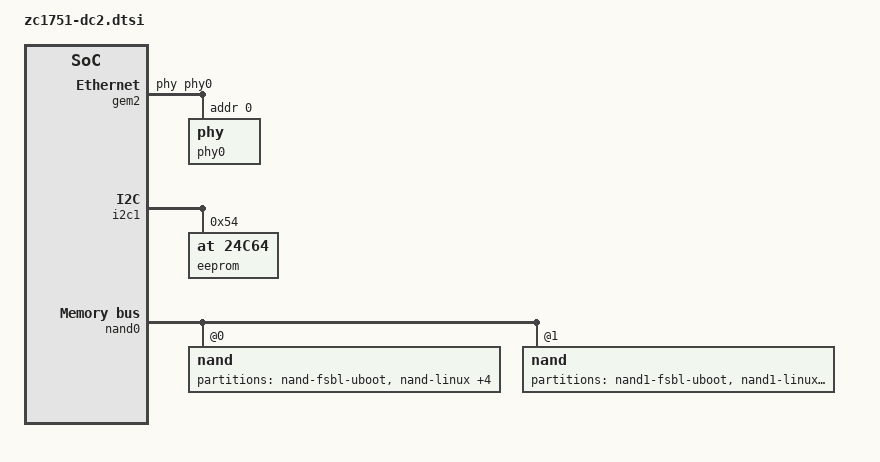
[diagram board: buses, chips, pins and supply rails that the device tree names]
&gem2 {
	phy-handle = <&phy0>;
	phy0: phy@0 {
		reg = <0>;
	};
};

&i2c1 {
	eeprom@54 {
		compatible = "at,24c64"; /* 24AA64 */
		reg = <0x54>;
	};
};

&nand0 {
	arasan,has-mdma;

	nand@0 {
		reg = <0x0>;
		#address-cells = <0x2>;
		#size-cells = <0x1>;

		partition@0 {	/* for testing purpose */
			label = "nand-fsbl-uboot";
			reg = <0x0 0x0 0x400000>;
		};
		partition@1 {	/* for testing purpose */
			label = "nand-linux";
			reg = <0x0 0x400000 0x1400000>;
		};
		partition@2 {	/* for testing purpose */
			label = "nand-device-tree";
			reg = <0x0 0x1800000 0x400000>;
		};
		partition@3 {	/* for testing purpose */
			label = "nand-rootfs";
			reg = <0x0 0x1C00000 0x1400000>;
		};
		partition@4 {	/* for testing purpose */
			label = "nand-bitstream";
			reg = <0x0 0x3000000 0x400000>;
		};
		partition@5 {	/* for testing purpose */
			label = "nand-misc";
			reg = <0x0 0x3400000 0xFCC00000>;
		};
	};
	nand@1 {
		reg = <0x1>;
		#address-cells = <0x2>;
		#size-cells = <0x1>;

		partition@6 {	/* for testing purpose */
			label = "nand1-fsbl-uboot";
			reg = <0x1 0x0 0x400000>;
		};
		partition@7 {	/* for testing purpose */
			label = "nand1-linux";
			reg = <0x1 0x400000 0x1400000>;
		};
		partition@8 {	/* for testing purpose */
			label = "nand1-device-tree";
			reg = <0x1 0x1800000 0x400000>;
		};
		partition@9 {	/* for testing purpose */
			label = "nand1-rootfs";
			reg = <0x1 0x1C00000 0x1400000>;
		};
		partition@10 {	/* for testing purpose */
			label = "nand1-bitstream";
			reg = <0x1 0x3000000 0x400000>;
		};
		partition@11 {	/* for testing purpose */
			label = "nand1-misc";
			reg = <0x1 0x3400000 0xFCC00000>;
		};
	};
};

&amba {
	u-boot,dm-pre-reloc;
};

&uart0 {
	u-boot,dm-pre-reloc;
};

&uart1 {
	u-boot,dm-pre-reloc;
};
